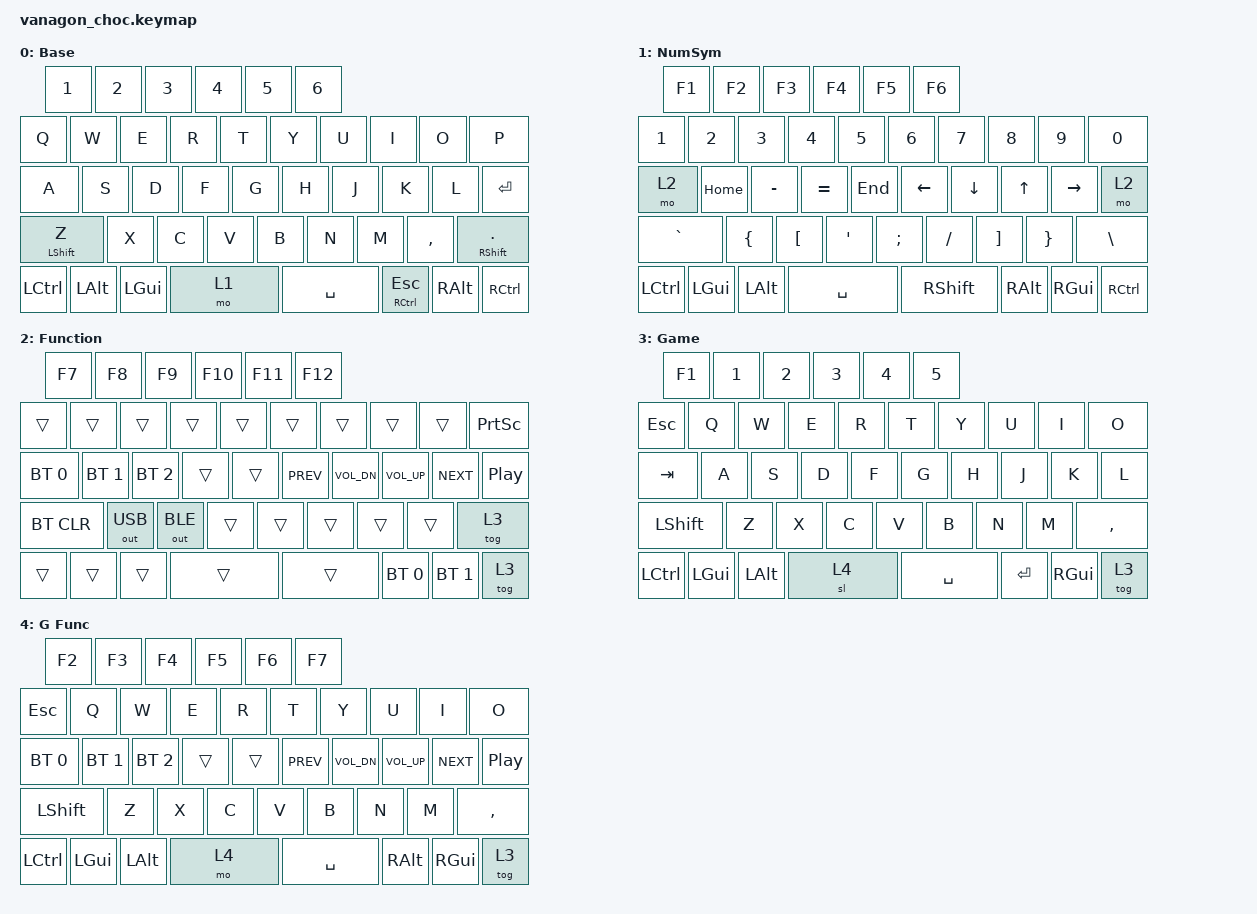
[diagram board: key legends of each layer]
#include <behaviors.dtsi>
#include <dt-bindings/zmk/keys.h>
#include <dt-bindings/zmk/bt.h>
#include <dt-bindings/zmk/outputs.h>


&mt {
    tapping-term-ms = <200>;
    require-prior-idle-ms = <100>;
    quick-tap-ms = <175>;
}
/ {
    macros {
        compatible = "zmk,macros";
        macro {
            bindings = <&kp C S(K)>;
        };
    };
}

/ {
    combos {
        compatible = "zmk,combos";
        combo_tab {
            timeout-ms = <50>;
            key-positions = <19 20>;
            bindings = <&kp TAB>;
            layers = <0>;
        };
        combo_bs {
            timeout-ms = <50>;
            key-positions = <21 22>;
            bindings = <&kp BSPC>;
            layers = <0>;
        };
        combo_del {
            timeout-ms = <50>;
            key-positions = <22 23>;
            bindings = <&kp DEL>;
            layers = <0>;
        };
    };
};

/ {
    keymap {
        compatible = "zmk,keymap";

        default_layer { // Layer 0
            display-name = "Base";
            bindings = <
                &kp N1      &kp N2      &kp N3      &kp N4      &kp N5      &kp N6 // 6
                &kp Q       &kp W       &kp E       &kp R       &kp T       &kp Y       &kp U       &kp I       &kp O       &kp P // 16
                &kp A       &kp S       &kp D       &kp F       &kp G       &kp H       &kp J       &kp K       &kp L       &kp ENTER //26
                &mt LSHFT Z   &kp X       &kp C       &kp V       &kp B     &kp N       &kp M       &kp  COMMA  &mt RSHFT DOT
                &kp LCTRL   &kp LALT    &kp LGUI    &mo 1      &kp SPACE    &mt RCTRL ESC &kp RALT    &kp RCTRL
            >;
        };

        num_sym_layer {
            display-name = "NumSym";
            bindings = <
                &kp F1      &kp F2      &kp F3      &kp F4      &kp F5      &kp F6
                &kp N1      &kp N2      &kp N3      &kp N4      &kp N5      &kp N6      &kp N7      &kp N8      &kp N9       &kp N0
                &mo 2       &kp HOME    &kp MINUS   &kp EQUAL   &kp END     &kp LEFT    &kp DOWN    &kp UP      &kp RIGHT    &mo 2
                &kp GRAVE   &kp LBRC    &kp LBKT    &kp SQT     &kp SEMI    &kp SLASH   &kp RBKT    &kp  RBRC   &kp BSLH
                &kp LCTRL   &kp LGUI    &kp LALT    &kp SPACE   &kp RSHFT   &kp RALT    &kp RGUI    &kp RCTRL
            >;
        };

        function_layer {
            display-name = "Function";
            bindings = <
                &kp F7      &kp F8      &kp F9      &kp F10      &kp F11      &kp F12
                &trans          &trans          &trans          &trans          &trans          &trans      &trans      &trans      &trans      &kp PSCRN
                &bt BT_SEL 0    &bt BT_SEL 1    &bt BT_SEL 2    &trans          &trans          &kp C_PREV  &kp C_VOL_DN    &kp C_VOL_UP      &kp C_NEXT      &kp C_PP
                &bt BT_CLR      &out OUT_USB    &out OUT_BLE    &trans          &trans          &trans      &trans      &trans      &tog 3
                &trans          &trans          &trans          &trans          &trans          &bt BT_SEL 0      &bt BT_SEL 1      &tog 3
            >;
        };

        game_layer {
            display-name = "Game";
            bindings = <
                &kp F1        &kp N1      &kp N2      &kp N3    &kp N4      &kp N5
                &kp ESC     &kp Q       &kp W       &kp E       &kp R       &kp T       &kp Y       &kp U       &kp I       &kp O      
                &kp TAB     &kp A       &kp S       &kp D       &kp F       &kp G       &kp H       &kp J       &kp K       &kp L      
                &kp LSHFT   &kp Z       &kp X       &kp C       &kp V       &kp B       &kp N       &kp M       &kp  COMMA  
                &kp LCTRL   &kp LGUI    &kp LALT    &sl 4       &kp SPACE   &kp ENTER   &kp RGUI    &tog 3
            >;
        };

        game_func_layer {
            display-name = "G Func";
            bindings = <
                &kp F2          &kp F3          &kp F4      &kp F5      &kp F6      &kp F7
                &kp ESC         &kp Q           &kp W       &kp E       &kp R       &kp T       &kp Y       &kp U       &kp I       &kp O
                &bt BT_SEL 0    &bt BT_SEL 1    &bt BT_SEL 2 &trans     &trans      &kp C_PREV  &kp C_VOL_DN    &kp C_VOL_UP      &kp C_NEXT      &kp C_PP
                &kp LSHFT       &kp Z           &kp X       &kp C       &kp V       &kp B       &kp N       &kp M       &kp  COMMA
                &kp LCTRL       &kp LGUI        &kp LALT    &mo 4   &kp SPACE   &kp RALT    &kp RGUI    &tog 3
            >;
        };
    };
};
